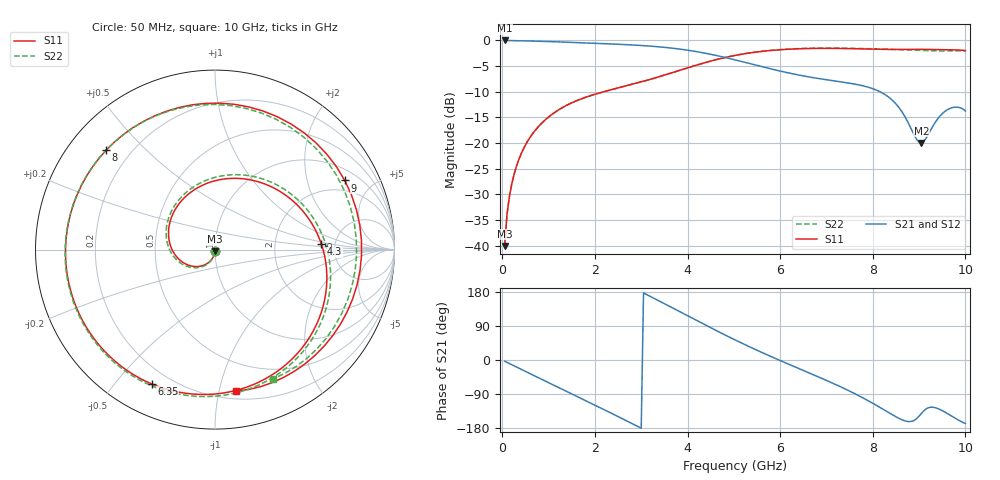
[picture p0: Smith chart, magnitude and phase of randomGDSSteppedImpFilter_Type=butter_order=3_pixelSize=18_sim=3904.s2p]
! freq	dB(S11)	phase(S11)	dB(S12)	phase(S12)
!  dB(S21)	phase(S21)	dB(S22)	phase(S22)
!S-par simulation data
#  GHz  S  DB  R 50
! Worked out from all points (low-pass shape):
!   200 points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, 50 MHz to 10 GHz, reference 50 ohm
!   highest |S21| = -0.01 dB at 50 MHz (marker M1); lowest = -20.0 dB at 9.05 GHz (marker M2)
!   |S21| within 3 dB of the highest: start of sweep to 4.658 GHz
!   lowest |S11| = -40.1 dB at 50 MHz (marker M3), VSWR 1.02, Z = 49.9 - j0.99 ohm
!   |S11| at or under -10 dB: start of sweep to 2.19 GHz
!   |S22| runs from -40.1 to -1.5 dB; largest |S21 - S12| = 0
!   S11 on the Smith chart (normalised r, x): 50 MHz: 1.00, -0.02; 4.3 GHz: 3.89, +0.36; 6.35 GHz: 0.13, -0.63; 8 GHz: 0.11, +0.38; 9 GHz: 1.46, +3.42; 10 GHz: 0.26, -1.13
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0.05  -40.07 -92.5  -0.01 -3.1  -0.01 -3.1  -40.10 -92.4
0.1  -34.09 -95.7  -0.01 -6.1  -0.01 -6.1  -34.09 -95.3
0.2  -28.17 -102.2  -0.03 -12.1  -0.03 -12.1  -28.18 -101.3
0.5  -20.39 -121.7  -0.08 -30.1  -0.08 -30.1  -20.38 -119.3
1.15  -13.92 -162.2  -0.27 -68.8  -0.27 -68.8  -13.92 -156.8
1.75  -11.24 160.8  -0.47 -104.4  -0.47 -104.4  -11.24 168.8
2.65  -8.92 105.5  -0.81 -158.4  -0.81 -158.4  -8.92 116.0
3.4  -7.03 58.9  -1.26 155.0  -1.26 155.0  -7.05 69.3
3.85  -5.77 30.9  -1.71 126.4  -1.71 126.4  -5.78 40.3
4.3  -4.53 2.9  -2.35 97.7  -2.35 97.7  -4.53 11.2
5.05  -2.88 -42.5  -3.84 51.6  -3.84 51.6  -2.87 -35.2
5.7  -2.04 -79.7  -5.32 14.7  -5.32 14.7  -2.02 -71.8
6.35  -1.64 -115.3  -6.65 -19.8  -6.65 -19.8  -1.61 -105.6
6.7  -1.56 -134.7  -7.23 -38.0  -7.23 -38.0  -1.51 -123.2
7.4  -1.58 -177.0  -8.20 -76.1  -8.20 -76.1  -1.51 -160.3
8  -1.71 137.6  -9.40 -114.1  -9.40 -114.1  -1.63 161.3
8.35  -1.76 104.2  -11.10 -139.2  -11.10 -139.2  -1.72 132.4
8.65  -1.75 70.9  -14.19 -158.7  -14.19 -158.7  -1.81 101.7
9  -1.73 28.1  -19.85 -148.1  -19.85 -148.1  -1.94 58.3
9.05  -1.73 21.9  -19.98 -141.0  -19.98 -141.0  -1.96 51.6
9.5  -1.80 -30.7  -14.28 -133.6  -14.28 -133.6  -2.06 -8.3
10  -1.97 -81.4  -13.75 -167.6  -13.75 -167.6  -2.05 -66.0
